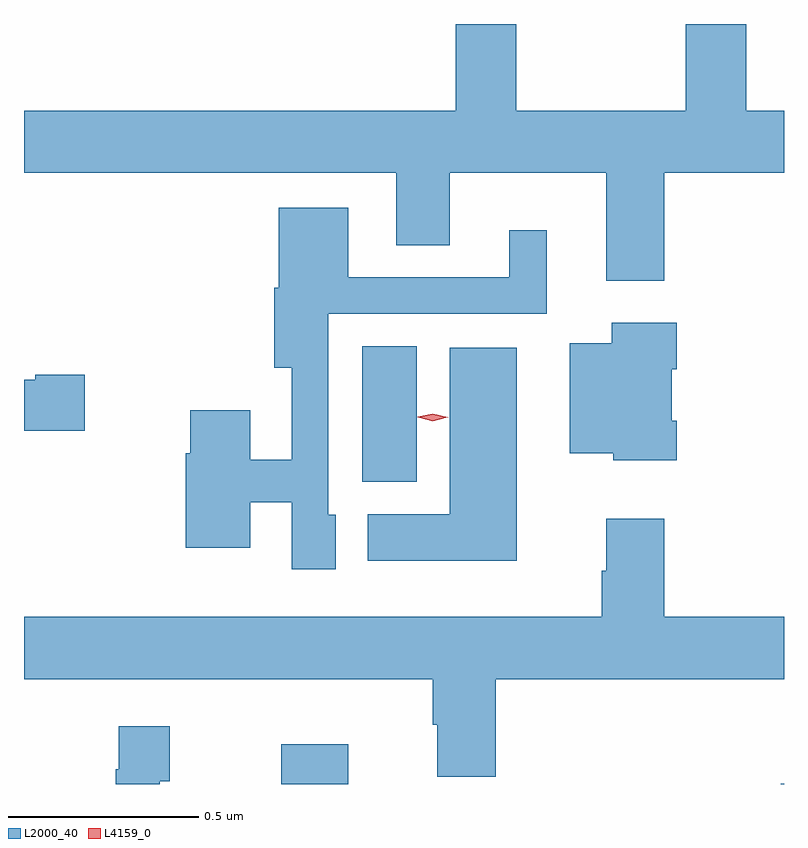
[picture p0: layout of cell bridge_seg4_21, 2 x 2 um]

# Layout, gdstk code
import gdstk
lib = gdstk.Library(unit=1e-6, precision=1e-09)
def R(c, l, rs):  # rectangles x0, y0, x1, y1
    for r in rs: c.add(gdstk.rectangle(r[:2], r[2:], *l))
def P(c, l, *ps):  # polygons
    for p in ps: c.add(gdstk.Polygon(p, *l))
L2000_40 = (2000, 40)
L4159_0 = (4159, 0)

bridge_seg4_21 = lib.new_cell('bridge_seg4_21')
R(bridge_seg4_21, L2000_40, [(1011.626,765.908,1011.802,766.012), (1012.94,765.908,1012.949,765.909), (1011.839,766.703,1011.982,767.06)])
P(bridge_seg4_21, L2000_40, [(1012.634,767.516),(1012.949,767.516),(1012.949,767.68),(1012.85,767.68),(1012.85,767.908),(1012.69,767.908),(1012.69,767.68),(1012.245,767.68),(1012.245,767.908),(1012.085,767.908),(1012.085,767.68),(1010.949,767.68),(1010.949,767.516),(1011.929,767.516),(1011.929,767.326),(1012.069,767.326),(1012.069,767.516),(1012.481,767.516),(1012.481,767.232),(1012.634,767.232)],
  [(1011.769,766.617),(1011.75,766.617),(1011.75,767.145),(1012.324,767.145),(1012.324,767.365),(1012.226,767.365),(1012.226,767.241),(1011.802,767.241),(1011.802,767.425),(1011.62,767.425),(1011.62,767.214),(1011.608,767.214),(1011.608,767.003),(1011.654,767.003),(1011.654,766.761),(1011.544,766.761),(1011.544,766.891),(1011.386,766.891),(1011.386,766.778),(1011.374,766.778),(1011.374,766.53),(1011.544,766.53),(1011.544,766.65),(1011.654,766.65),(1011.654,766.473),(1011.769,766.473)],
  [(1012.667,766.864),(1012.654,766.864),(1012.654,767),(1012.667,767),(1012.667,767.122),(1012.496,767.122),(1012.496,767.068),(1012.385,767.068),(1012.385,766.778),(1012.5,766.778),(1012.5,766.76),(1012.667,766.76)],
  [(1012.246,767.056),(1012.07,767.056),(1012.07,766.618),(1011.854,766.618),(1011.854,766.496),(1012.246,766.496)],
  [(1011.109,766.985),(1010.979,766.985),(1010.979,766.972),(1010.949,766.972),(1010.949,766.838),(1011.109,766.838)],
  [(1012.19,766.184),(1012.949,766.184),(1012.949,766.348),(1012.634,766.348),(1012.634,766.606),(1012.481,766.606),(1012.481,766.469),(1012.469,766.469),(1012.469,766.348),(1010.949,766.348),(1010.949,766.184),(1012.025,766.184),(1012.025,766.064),(1012.037,766.064),(1012.037,765.927),(1012.19,765.927)],
  [(1011.306,765.915),(1011.333,765.915),(1011.333,766.06),(1011.198,766.06),(1011.198,765.947),(1011.19,765.947),(1011.19,765.908),(1011.306,765.908)])
P(bridge_seg4_21, L4159_0, [(1012.025,766.863),(1011.985,766.873),(1011.985,766.874),(1011.985,766.874),(1012.025,766.883),(1012.064,766.873),(1012.065,766.873),(1012.064,766.873)])

lib.write_gds('bridge_seg4_21.gds')
